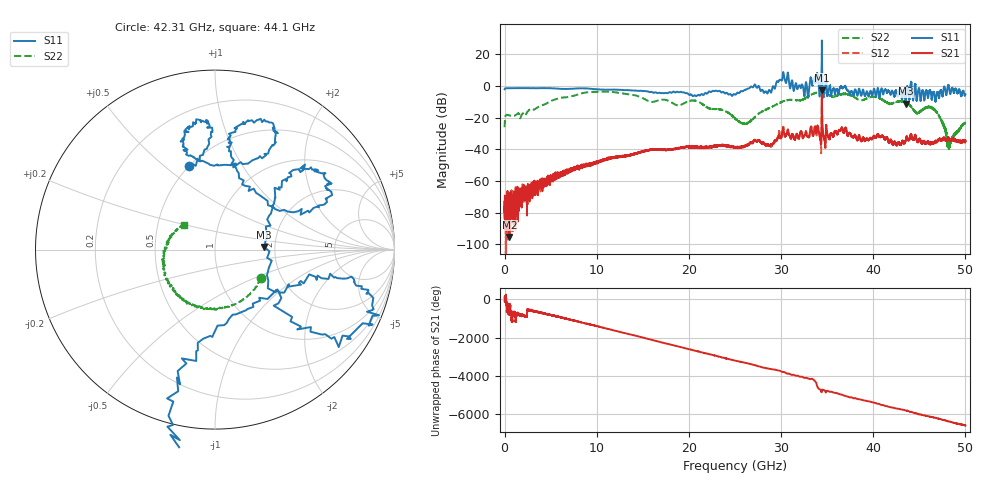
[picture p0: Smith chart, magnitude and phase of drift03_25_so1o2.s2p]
!Created with skrf (http://scikit-rf.org).
# Hz S RI R 50.0
!freq ReS11 ImS11 ReS21 ImS21 ReS12 ImS12 ReS22 ImS22
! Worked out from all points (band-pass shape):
!   10000 points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, 5.3 MHz to 50 GHz, reference 50 ohm
!   highest |S21| = -2.83 dB at 34.43 GHz (marker M1); lowest = -95.4 dB at 530.3 MHz (marker M2)
!   |S21| within 3 dB of the highest: 34.42743 GHz to 34.43543 GHz (8 MHz wide, 0.0232 % of centre)
!   lowest |S11| = -11.2 dB at 43.52 GHz (marker M3), VSWR 1.75, Z = 87.6 + j2.82 ohm
!   |S11| at or under -10 dB: 43.4941 GHz to 43.53408 GHz (39.98 MHz wide, 0.0919 % of centre); 46.76476 GHz to 46.7653 GHz (537.9 kHz wide, 0.00115 % of centre)
!   |S22| runs from -40.1 to -3.6 dB; largest |S21 - S12| = 0.22
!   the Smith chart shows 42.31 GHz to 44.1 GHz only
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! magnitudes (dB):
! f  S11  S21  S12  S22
! 5.3 MHz  -2.1  -76.9  -72.6  -26.0
! 530.3 MHz  -1.4  -95.4  -72.3  -18.6
! 2.11 GHz  -1.3  -69.7  -64.3  -17.9
! 8.34 GHz  -1.5  -49.7  -50.8  -4.7
! 16.67 GHz  -4.4  -40.2  -40.3  -9.1
! 20.74 GHz  -6.3  -38.6  -38.4  -9.3
! 25.01 GHz  -5.5  -38.7  -38.7  -20.5
! 26.25 GHz  -2.2  -37.8  -37.6  -23.7
! 28.72 GHz  -2.5  -37.8  -37.6  -14.0
! 30.14 GHz  4.4  -29.3  -29.7  -10.0
! 32.74 GHz  2.0  -29.5  -29.2  -7.3
! 33.34 GHz  2.6  -27.5  -27.8  -5.3
! 33.82 GHz  4.0  -28.9  -29.5  -4.3
! 34.43 GHz  28.8  -2.8  -4.8  -4.0
! 36.49 GHz  -0.2  -27.7  -27.9  -5.3
! 41.67 GHz  -3.1  -35.4  -35.6  -11.1
! 43.52 GHz  -11.2  -34.4  -34.5  -10.3
! 44.74 GHz  -8.9  -34.4  -34.7  -17.4
! 46.66 GHz  -5.5  -35.4  -35.6  -15.2
! 47.5 GHz  -6.1  -34.0  -33.4  -22.7
! 48.22 GHz  -0.7  -33.0  -33.0  -37.0
! 50 GHz  -5.3  -34.5  -34.7  -23.1
